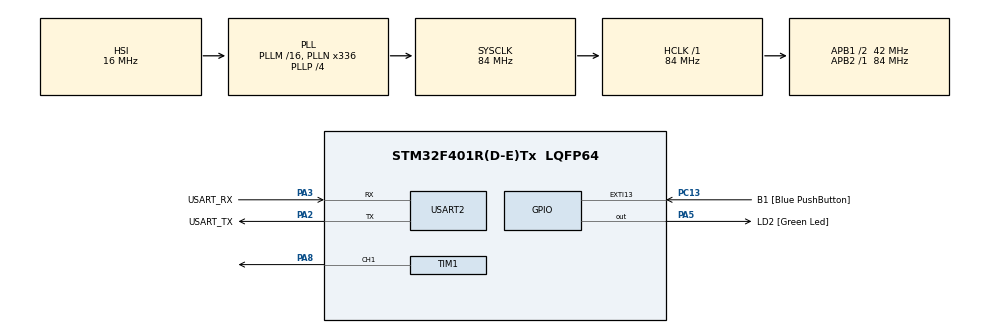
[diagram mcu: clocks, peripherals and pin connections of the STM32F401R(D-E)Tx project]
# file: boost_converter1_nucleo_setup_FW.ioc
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Mcu.Family=STM32F4
Mcu.Name=STM32F401R(D-E)Tx
Mcu.Package=LQFP64
Mcu.UserConstants=DFLT_CNT_PER,839;DFLT_PWM_DC,0.2
NVIC.PriorityGroup=NVIC_PRIORITYGROUP_0
NVIC.USART2_IRQn=true\:0\:0\:false\:false\:true\:true\:true\:true
PA13.GPIO_Label=TMS
PA13.Mode=Serial_Wire
PA13.Signal=SYS_JTMS-SWDIO
PA14.GPIO_Label=TCK
PA14.Mode=Serial_Wire
PA14.Signal=SYS_JTCK-SWCLK
PA2.GPIO_Label=USART_TX
PA2.GPIO_Mode=GPIO_MODE_AF_PP
PA2.GPIO_PuPd=GPIO_NOPULL
PA2.GPIO_Speed=GPIO_SPEED_FREQ_LOW
PA2.Mode=Asynchronous
PA2.Signal=USART2_TX
PA3.GPIO_Label=USART_RX
PA3.GPIO_Mode=GPIO_MODE_AF_PP
PA3.GPIO_PuPd=GPIO_NOPULL
PA3.GPIO_Speed=GPIO_SPEED_FREQ_LOW
PA3.Mode=Asynchronous
PA3.Signal=USART2_RX
PA5.GPIO_Label=LD2 [Green Led]
PA5.GPIO_Mode=GPIO_MODE_OUTPUT_PP
PA5.GPIO_PuPd=GPIO_NOPULL
PA5.GPIO_Speed=GPIO_SPEED_FREQ_LOW
PA5.Signal=GPIO_Output
PA8.Signal=S_TIM1_CH1
PB3.GPIO_Label=SWO
PB3.Signal=SYS_JTDO-SWO
PC13-ANTI_TAMP.GPIO_Label=B1 [Blue PushButton]
PC13-ANTI_TAMP.GPIO_ModeDefaultEXTI=GPIO_MODE_IT_FALLING
PC13-ANTI_TAMP.GPIO_PuPd=GPIO_NOPULL
PC13-ANTI_TAMP.Signal=GPXTI13
PC14-OSC32_IN.Mode=LSE-External-Oscillator
PC14-OSC32_IN.Signal=RCC_OSC32_IN
PC15-OSC32_OUT.Mode=LSE-External-Oscillator
PC15-OSC32_OUT.Signal=RCC_OSC32_OUT
PH0\ -\ OSC_IN.Mode=HSE-External-Clock-Source
PH0\ -\ OSC_IN.Signal=RCC_OSC_IN
PH1\ -\ OSC_OUT.Mode=HSE-External-Clock-Source
PH1\ -\ OSC_OUT.Signal=RCC_OSC_OUT
ProjectManager.HeapSize=0x200
ProjectManager.StackSize=0x400
ProjectManager.TargetToolchain=STM32CubeIDE
RCC.48MHZClocksFreq_Value=48000000
RCC.AHBFreq_Value=84000000
RCC.APB1CLKDivider=RCC_HCLK_DIV2
RCC.APB1Freq_Value=42000000
RCC.APB1TimFreq_Value=84000000
RCC.APB2Freq_Value=84000000
RCC.APB2TimFreq_Value=84000000
RCC.CortexFreq_Value=84000000
RCC.HCLKFreq_Value=84000000
RCC.HSE_VALUE=8000000
RCC.HSI_VALUE=16000000
RCC.PLLN=336
RCC.PLLP=RCC_PLLP_DIV4
RCC.PLLQ=7
RCC.SYSCLKFreq_VALUE=84000000
RCC.SYSCLKSource=RCC_SYSCLKSOURCE_PLLCLK
RCC.VCOOutputFreq_Value=336000000
SH.S_TIM1_CH1.0=TIM1_CH1,PWM Generation1 CH1
TIM1.Channel-PWM\ Generation1\ CH1=TIM_CHANNEL_1
TIM1.OCFastMode_PWM-PWM\ Generation1\ CH1=TIM_OCFAST_ENABLE
TIM1.OCMode_PWM-PWM\ Generation1\ CH1=TIM_OCMODE_PWM1
TIM1.Period=DFLT_CNT_PER
TIM1.Prescaler=0
TIM1.Pulse-PWM\ Generation1\ CH1=DFLT_CNT_PER * DFLT_PWM_DC
USART2.VirtualMode=VM_ASYNC
board=NUCLEO-F401RE

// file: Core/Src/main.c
/* USER CODE BEGIN Header */
/**
  ******************************************************************************
  * @file           : main.c
  * @brief          : Main program body
  ******************************************************************************
  * @attention
  *
  * Copyright (c) 2025 STMicroelectronics.
  * All rights reserved.
  *
  * This software is licensed under terms that can be found in the LICENSE file
  * in the root directory of this software component.
  * If no LICENSE file comes with this software, it is provided AS-IS.
  *
  ******************************************************************************
  */
/* USER CODE END Header */
#include "main.h"

/* USER CODE BEGIN Includes */
#include <stdint.h>
#include <stdio.h>

#include "input_handler.h"
#include "use_printf.h"
#include "pwm.h"
/* USER CODE END Includes */

TIM_HandleTypeDef htim1;

UART_HandleTypeDef huart2;

/* USER CODE BEGIN PV */

pwm_t pwm_boost;

/* USER CODE END PV */

void SystemClock_Config(void);
static void MX_GPIO_Init(void);
static void MX_USART2_UART_Init(void);
static void MX_TIM1_Init(void);

/* USER CODE BEGIN 0 */
int _write(int file, char *data, int len) {
	HAL_UART_Transmit(&huart2, (uint8_t*) data, len, HAL_MAX_DELAY);
	return len;
}
/* USER CODE END 0 */

int main(void)
{

  /* MCU Configuration--------------------------------------------------------*/

  /* Reset of all peripherals, Initializes the Flash interface and the Systick. */
  HAL_Init();

  /* Configure the system clock */
  SystemClock_Config();

  /* Initialize all configured peripherals */
  MX_GPIO_Init();
  MX_USART2_UART_Init();
  MX_TIM1_Init();
  /* USER CODE BEGIN 2 */

  /* Init input buffer */
  ring_buffer_t input_buffer;
  rbuff_init(&input_buffer);

  /* Create temp UART buffer */
  uint8_t uart_buff = '\0';

  /* INIT PWM */
  pwm_init(&pwm_boost, "Boost_pwm\0", ASYNC_BOOST, &htim1);

  printf("[INFO] Init complete.\r\n");
  /* USER CODE END 2 */

  /* Infinite loop */
  /* USER CODE BEGIN WHILE */
  while (1)
  {

	HAL_UART_Receive_IT(&huart2, &uart_buff, 1);
	if(uart_buff != '\0'){
		HAL_UART_Transmit(&huart2, &uart_buff, 1, 100); //echo
		while(rbuff_add_val(&input_buffer, uart_buff) == BUFF_BUSY);
		uart_buff = '\0';
	}

    /* USER CODE END WHILE */

  }
}

void SystemClock_Config(void)
{
  RCC_OscInitTypeDef RCC_OscInitStruct = {0};
  RCC_ClkInitTypeDef RCC_ClkInitStruct = {0};

  /** Configure the main internal regulator output voltage
  */
  __HAL_RCC_PWR_CLK_ENABLE();
  __HAL_PWR_VOLTAGESCALING_CONFIG(PWR_REGULATOR_VOLTAGE_SCALE2);

  /** Initializes the RCC Oscillators according to the specified parameters
  * in the RCC_OscInitTypeDef structure.
  */
  RCC_OscInitStruct.OscillatorType = RCC_OSCILLATORTYPE_HSI;
  RCC_OscInitStruct.HSIState = RCC_HSI_ON;
  RCC_OscInitStruct.HSICalibrationValue = RCC_HSICALIBRATION_DEFAULT;
  RCC_OscInitStruct.PLL.PLLState = RCC_PLL_ON;
  RCC_OscInitStruct.PLL.PLLSource = RCC_PLLSOURCE_HSI;
  RCC_OscInitStruct.PLL.PLLM = 16;
  RCC_OscInitStruct.PLL.PLLN = 336;
  RCC_OscInitStruct.PLL.PLLP = RCC_PLLP_DIV4;
  RCC_OscInitStruct.PLL.PLLQ = 7;
  if (HAL_RCC_OscConfig(&RCC_OscInitStruct) != HAL_OK)
  {
    Error_Handler();
  }

  /** Initializes the CPU, AHB and APB buses clocks
  */
  RCC_ClkInitStruct.ClockType = RCC_CLOCKTYPE_HCLK|RCC_CLOCKTYPE_SYSCLK
                              |RCC_CLOCKTYPE_PCLK1|RCC_CLOCKTYPE_PCLK2;
  RCC_ClkInitStruct.SYSCLKSource = RCC_SYSCLKSOURCE_PLLCLK;
  RCC_ClkInitStruct.AHBCLKDivider = RCC_SYSCLK_DIV1;
  RCC_ClkInitStruct.APB1CLKDivider = RCC_HCLK_DIV2;
  RCC_ClkInitStruct.APB2CLKDivider = RCC_HCLK_DIV1;

  if (HAL_RCC_ClockConfig(&RCC_ClkInitStruct, FLASH_LATENCY_2) != HAL_OK)
  {
    Error_Handler();
  }
}

static void MX_TIM1_Init(void)
{

  TIM_MasterConfigTypeDef sMasterConfig = {0};
  TIM_OC_InitTypeDef sConfigOC = {0};
  TIM_BreakDeadTimeConfigTypeDef sBreakDeadTimeConfig = {0};

  htim1.Instance = TIM1;
  htim1.Init.Prescaler = 0;
  htim1.Init.CounterMode = TIM_COUNTERMODE_UP;
  htim1.Init.Period = DFLT_CNT_PER;
  htim1.Init.ClockDivision = TIM_CLOCKDIVISION_DIV1;
  htim1.Init.RepetitionCounter = 0;
  htim1.Init.AutoReloadPreload = TIM_AUTORELOAD_PRELOAD_DISABLE;
  if (HAL_TIM_PWM_Init(&htim1) != HAL_OK)
  {
    Error_Handler();
  }
  sMasterConfig.MasterOutputTrigger = TIM_TRGO_RESET;
  sMasterConfig.MasterSlaveMode = TIM_MASTERSLAVEMODE_DISABLE;
  if (HAL_TIMEx_MasterConfigSynchronization(&htim1, &sMasterConfig) != HAL_OK)
  {
    Error_Handler();
  }
  sConfigOC.OCMode = TIM_OCMODE_PWM1;
  sConfigOC.Pulse = DFLT_CNT_PER * DFLT_PWM_DC;
  sConfigOC.OCPolarity = TIM_OCPOLARITY_HIGH;
  sConfigOC.OCNPolarity = TIM_OCNPOLARITY_HIGH;
  sConfigOC.OCFastMode = TIM_OCFAST_ENABLE;
  sConfigOC.OCIdleState = TIM_OCIDLESTATE_RESET;
  sConfigOC.OCNIdleState = TIM_OCNIDLESTATE_RESET;
  if (HAL_TIM_PWM_ConfigChannel(&htim1, &sConfigOC, TIM_CHANNEL_1) != HAL_OK)
  {
    Error_Handler();
  }
  sBreakDeadTimeConfig.OffStateRunMode = TIM_OSSR_DISABLE;
  sBreakDeadTimeConfig.OffStateIDLEMode = TIM_OSSI_DISABLE;
  sBreakDeadTimeConfig.LockLevel = TIM_LOCKLEVEL_OFF;
  sBreakDeadTimeConfig.DeadTime = 0;
  sBreakDeadTimeConfig.BreakState = TIM_BREAK_DISABLE;
  sBreakDeadTimeConfig.BreakPolarity = TIM_BREAKPOLARITY_HIGH;
  sBreakDeadTimeConfig.AutomaticOutput = TIM_AUTOMATICOUTPUT_DISABLE;
  if (HAL_TIMEx_ConfigBreakDeadTime(&htim1, &sBreakDeadTimeConfig) != HAL_OK)
  {
    Error_Handler();
  }
  HAL_TIM_MspPostInit(&htim1);

}

static void MX_USART2_UART_Init(void)
{

  huart2.Instance = USART2;
  huart2.Init.BaudRate = 115200;
  huart2.Init.WordLength = UART_WORDLENGTH_8B;
  huart2.Init.StopBits = UART_STOPBITS_1;
  huart2.Init.Parity = UART_PARITY_NONE;
  huart2.Init.Mode = UART_MODE_TX_RX;
  huart2.Init.HwFlowCtl = UART_HWCONTROL_NONE;
  huart2.Init.OverSampling = UART_OVERSAMPLING_16;
  if (HAL_UART_Init(&huart2) != HAL_OK)
  {
    Error_Handler();
  }

}

static void MX_GPIO_Init(void)
{
  GPIO_InitTypeDef GPIO_InitStruct = {0};

  /* GPIO Ports Clock Enable */
  __HAL_RCC_GPIOC_CLK_ENABLE();
  __HAL_RCC_GPIOH_CLK_ENABLE();
  __HAL_RCC_GPIOA_CLK_ENABLE();
  __HAL_RCC_GPIOB_CLK_ENABLE();

  /*Configure GPIO pin Output Level */
  HAL_GPIO_WritePin(LD2_GPIO_Port, LD2_Pin, GPIO_PIN_RESET);

  /*Configure GPIO pin : B1_Pin */
  GPIO_InitStruct.Pin = B1_Pin;
  GPIO_InitStruct.Mode = GPIO_MODE_IT_FALLING;
  GPIO_InitStruct.Pull = GPIO_NOPULL;
  HAL_GPIO_Init(B1_GPIO_Port, &GPIO_InitStruct);

  /*Configure GPIO pin : LD2_Pin */
  GPIO_InitStruct.Pin = LD2_Pin;
  GPIO_InitStruct.Mode = GPIO_MODE_OUTPUT_PP;
  GPIO_InitStruct.Pull = GPIO_NOPULL;
  GPIO_InitStruct.Speed = GPIO_SPEED_FREQ_LOW;
  HAL_GPIO_Init(LD2_GPIO_Port, &GPIO_InitStruct);

}

void Error_Handler(void)
{
  __disable_irq();
  while (1)
  {
  }
}
